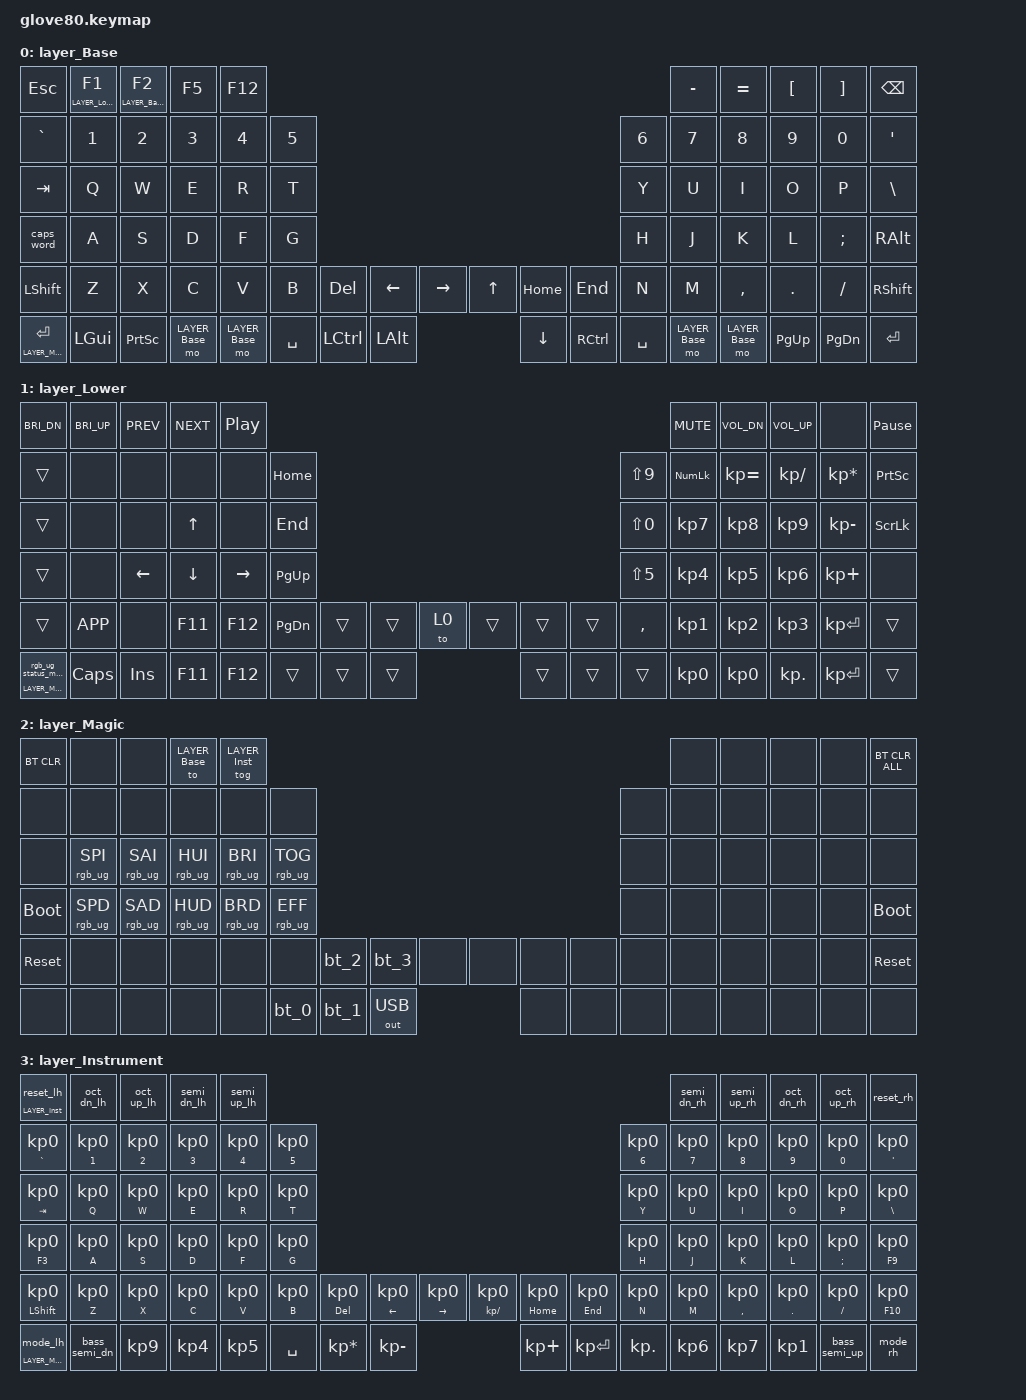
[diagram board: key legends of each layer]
/*
 * Glove80 Instrument Mode — Bridge 1.5 + Device 0.5
 * darknao/zmk fork (rgb-layer-25.08) + instrument_mode C module
 *
 * 4 layers:
 *   0: Base       — user's work layout
 *   1: Lower      — numpad, media, nav
 *   2: Magic      — BT, RGB, bootloader, instrument entry/exit
 *   3: Instrument — MIDI note keys with &vel, controls with &inst
 *
 * RGB: 12 chromatic colors computed at runtime by instrument_mode module.
 * No static underglow-layer needed for instrument mode.
 */

#include <behaviors.dtsi>
#include <dt-bindings/zmk/keys.h>
#include <dt-bindings/zmk/bt.h>
#include <dt-bindings/zmk/outputs.h>
#include <dt-bindings/zmk/rgb.h>

/* Layer defines */
#define LAYER_Base  0
#define LAYER_Lower 1
#define LAYER_Magic 2
#define LAYER_Inst  3

/* Instrument command defines (must match instrument_mode.h) */
#define INST_CMD_SEMI_INC   0
#define INST_CMD_SEMI_DEC   1
#define INST_CMD_SEMI_RST   2
#define INST_CMD_MODE_TOG   3
#define INST_CMD_OCT_INC        4
#define INST_CMD_OCT_DEC        5
#define INST_CMD_BASS_SEMI_INC  6
#define INST_CMD_BASS_SEMI_DEC  7
#define INST_HAND_LH 0
#define INST_HAND_RH 1

/ {
    behaviors {
        /* Lower layer tap-dance: tap = momentary, double-tap = toggle */
        lower: lower {
            compatible = "zmk,behavior-tap-dance";
            #binding-cells = <0>;
            tapping-term-ms = <200>;
            bindings = <&mo LAYER_Lower>, <&to LAYER_Lower>;
        };

        /* Magic hold-tap: hold = Magic layer, tap = RGB status */
        magic: magic {
            compatible = "zmk,behavior-hold-tap";
            label = "MAGIC_HOLD_TAP";
            #binding-cells = <2>;
            flavor = "tap-preferred";
            tapping-term-ms = <200>;
            bindings = <&mo>, <&rgb_ug_status_macro>;
        };

        /* Velocity hold-tap: hold = fire key immediately, tap = soft signal (KP_N0)
         * 50ms tapping-term reduces false-tap classification from BLE split jitter
         * (connection interval is 7.5-15ms on RH → 30ms window was unreliable).
         * Interim fix — firmware-side INI velocity will replace this in Phase 3. */
        vel: vel {
            compatible = "zmk,behavior-hold-tap";
            label = "VEL_HOLD_TAP";
            #binding-cells = <2>;
            flavor = "hold-preferred";
            tapping-term-ms = <50>;
            hold-while-undecided;
            bindings = <&kp>, <&kp>;
        };

        /* LH mode toggle hold-tap: hold = Magic, tap = mode_lh macro */
        lt_mode_lh: lt_mode_lh {
            compatible = "zmk,behavior-hold-tap";
            label = "LT_MODE_LH";
            #binding-cells = <2>;
            flavor = "tap-preferred";
            tapping-term-ms = <200>;
            bindings = <&mo>, <&mode_lh>;
        };

        /* Instrument exit hold-tap: tap = reset, hold = exit instrument mode */
        inst_exit: inst_exit {
            compatible = "zmk,behavior-hold-tap";
            label = "INST_EXIT";
            #binding-cells = <2>;
            flavor = "tap-preferred";
            tapping-term-ms = <300>;
            bindings = <&tog>, <&reset_lh>;
        };
    };
};

/ {
    macros {
        rgb_ug_status_macro: rgb_ug_status_macro {
            label = "RGB_UG_STATUS";
            compatible = "zmk,behavior-macro";
            #binding-cells = <0>;
            bindings = <&rgb_ug RGB_STATUS>;
        };

        bt_0: bt_0 {
            label = "BT_0";
            compatible = "zmk,behavior-macro";
            #binding-cells = <0>;
            bindings = <&out OUT_BLE>, <&bt BT_SEL 0>;
        };
        bt_1: bt_1 {
            label = "BT_1";
            compatible = "zmk,behavior-macro";
            #binding-cells = <0>;
            bindings = <&out OUT_BLE>, <&bt BT_SEL 1>;
        };
        bt_2: bt_2 {
            label = "BT_2";
            compatible = "zmk,behavior-macro";
            #binding-cells = <0>;
            bindings = <&out OUT_BLE>, <&bt BT_SEL 2>;
        };
        bt_3: bt_3 {
            label = "BT_3";
            compatible = "zmk,behavior-macro";
            #binding-cells = <0>;
            bindings = <&out OUT_BLE>, <&bt BT_SEL 3>;
        };

        /* R1 instrument control macros — send keycode (for bridge) + &inst (for firmware RGB) */
        semi_up_lh: semi_up_lh {
            compatible = "zmk,behavior-macro";
            #binding-cells = <0>;
            bindings = <&kp F11>, <&inst INST_CMD_SEMI_INC INST_HAND_LH>;
        };
        semi_dn_lh: semi_dn_lh {
            compatible = "zmk,behavior-macro";
            #binding-cells = <0>;
            bindings = <&kp F5>, <&inst INST_CMD_SEMI_DEC INST_HAND_LH>;
        };
        reset_lh: reset_lh {
            compatible = "zmk,behavior-macro";
            #binding-cells = <0>;
            bindings = <&kp ESC>, <&inst INST_CMD_SEMI_RST INST_HAND_LH>;
        };
        oct_up_lh: oct_up_lh {
            compatible = "zmk,behavior-macro";
            #binding-cells = <0>;
            bindings = <&kp F2>, <&inst INST_CMD_OCT_INC INST_HAND_LH>;
        };
        oct_dn_lh: oct_dn_lh {
            compatible = "zmk,behavior-macro";
            #binding-cells = <0>;
            bindings = <&kp F1>, <&inst INST_CMD_OCT_DEC INST_HAND_LH>;
        };
        semi_up_rh: semi_up_rh {
            compatible = "zmk,behavior-macro";
            #binding-cells = <0>;
            bindings = <&kp EQUAL>, <&inst INST_CMD_SEMI_INC INST_HAND_RH>;
        };
        semi_dn_rh: semi_dn_rh {
            compatible = "zmk,behavior-macro";
            #binding-cells = <0>;
            bindings = <&kp MINUS>, <&inst INST_CMD_SEMI_DEC INST_HAND_RH>;
        };
        reset_rh: reset_rh {
            compatible = "zmk,behavior-macro";
            #binding-cells = <0>;
            bindings = <&kp BSPC>, <&inst INST_CMD_SEMI_RST INST_HAND_RH>;
        };
        oct_up_rh: oct_up_rh {
            compatible = "zmk,behavior-macro";
            #binding-cells = <0>;
            bindings = <&kp RBKT>, <&inst INST_CMD_OCT_INC INST_HAND_RH>;
        };
        oct_dn_rh: oct_dn_rh {
            compatible = "zmk,behavior-macro";
            #binding-cells = <0>;
            bindings = <&kp LBKT>, <&inst INST_CMD_OCT_DEC INST_HAND_RH>;
        };

        /* Mode toggle macros */
        mode_lh: mode_lh {
            compatible = "zmk,behavior-macro";
            #binding-cells = <0>;
            bindings = <&kp RET>, <&inst INST_CMD_MODE_TOG INST_HAND_LH>;
        };
        mode_rh: mode_rh {
            compatible = "zmk,behavior-macro";
            #binding-cells = <0>;
            bindings = <&kp KP_N3>, <&inst INST_CMD_MODE_TOG INST_HAND_RH>;
        };

        /* Bass register semitone controls */
        bass_semi_dn: bass_semi_dn {
            compatible = "zmk,behavior-macro";
            #binding-cells = <0>;
            bindings = <&kp KP_N8>, <&inst INST_CMD_BASS_SEMI_DEC INST_HAND_LH>;
        };
        bass_semi_up: bass_semi_up {
            compatible = "zmk,behavior-macro";
            #binding-cells = <0>;
            bindings = <&kp KP_N2>, <&inst INST_CMD_BASS_SEMI_INC INST_HAND_RH>;
        };
    };
};

/ {
    keymap {
        compatible = "zmk,keymap";

        /* ─── Layer 0: Base ─── */
        layer_Base {
            bindings = <
             &kp ESC  &lt LAYER_Lower F1  &lt LAYER_Base F2          &kp F5         &kp F12                                                                                        &kp MINUS       &kp EQUAL   &kp LBKT   &kp RBKT   &kp BSPC
           &kp GRAVE              &kp N1             &kp N2          &kp N3          &kp N4  &kp N5                                                                   &kp N6          &kp N7          &kp N8     &kp N9     &kp N0    &kp SQT
             &kp TAB               &kp Q              &kp W           &kp E           &kp R   &kp T                                                                    &kp Y           &kp U           &kp I      &kp O      &kp P   &kp BSLH
          &caps_word               &kp A              &kp S           &kp D           &kp F   &kp G                                                                    &kp H           &kp J           &kp K      &kp L   &kp SEMI   &kp RALT
           &kp LSHFT               &kp Z              &kp X           &kp C           &kp V   &kp B    &kp DEL   &kp LEFT  &kp RIGHT    &kp UP   &kp HOME    &kp END   &kp N           &kp M       &kp COMMA    &kp DOT   &kp FSLH  &kp RSHFT
 &lt LAYER_Magic RET            &kp LGUI          &kp PSCRN  &mo LAYER_Base  &mo LAYER_Base          &kp SPACE  &kp LCTRL   &kp LALT  &kp DOWN  &kp RCTRL  &kp SPACE          &mo LAYER_Base  &mo LAYER_Base  &kp PG_UP  &kp PG_DN    &kp RET
            >;
        };

        /* ─── Layer 1: Lower ─── */
        layer_Lower {
            bindings = <
         &kp C_BRI_DN  &kp C_BRI_UP      &kp C_PREV      &kp C_NEXT         &kp C_PP                                                                         &kp C_MUTE  &kp C_VOL_DN  &kp C_VOL_UP            &none  &kp PAUSE_BREAK
               &trans         &none           &none           &none            &none   &kp HOME                                                  &kp LS(N9)  &kp KP_NUM  &kp KP_EQUAL  &kp KP_SLASH  &kp KP_MULTIPLY  &kp PRINTSCREEN
               &trans         &none           &none    &kp UP_ARROW            &none    &kp END                                                  &kp LS(N0)   &kp KP_N7     &kp KP_N8     &kp KP_N9     &kp KP_MINUS   &kp SCROLLLOCK
               &trans         &none  &kp LEFT_ARROW  &kp DOWN_ARROW  &kp RIGHT_ARROW  &kp PG_UP                                                  &kp LS(N5)   &kp KP_N4     &kp KP_N5     &kp KP_N6      &kp KP_PLUS            &none
               &trans     &kp K_APP           &none         &kp F11          &kp F12  &kp PG_DN  &trans  &trans   &to 0  &trans  &trans  &trans   &kp COMMA   &kp KP_N1     &kp KP_N2     &kp KP_N3     &kp KP_ENTER           &trans
 &magic LAYER_Magic 0      &kp CAPS         &kp INS         &kp F11          &kp F12             &trans  &trans  &trans  &trans  &trans  &trans               &kp KP_N0     &kp KP_N0    &kp KP_DOT     &kp KP_ENTER           &trans
            >;
        };

        /* ─── Layer 2: Magic ───
         * Pos 3 (LH C3R1): &to 0 — exit instrument (clean reset)
         * Pos 4 (LH C2R1): &tog LAYER_Inst — enter instrument
         */
        layer_Magic {
            bindings = <
  &bt BT_CLR            &none            &none    &to LAYER_Base  &tog LAYER_Inst                                                                                  &none   &none   &none   &none  &bt BT_CLR_ALL
       &none            &none            &none            &none            &none            &none                                                         &none   &none   &none   &none   &none           &none
       &none  &rgb_ug RGB_SPI  &rgb_ug RGB_SAI  &rgb_ug RGB_HUI  &rgb_ug RGB_BRI  &rgb_ug RGB_TOG                                                         &none   &none   &none   &none   &none           &none
 &bootloader  &rgb_ug RGB_SPD  &rgb_ug RGB_SAD  &rgb_ug RGB_HUD  &rgb_ug RGB_BRD  &rgb_ug RGB_EFF                                                         &none   &none   &none   &none   &none     &bootloader
  &sys_reset            &none            &none            &none            &none            &none   &bt_2   &bt_3         &none   &none   &none   &none   &none   &none   &none   &none   &none      &sys_reset
       &none            &none            &none            &none            &none                    &bt_0   &bt_1  &out OUT_USB   &none   &none   &none           &none   &none   &none   &none           &none
            >;
        };

        /* ─── Layer 3: Instrument ───
         *
         * R1: control macros (send keycode for bridge + &inst for firmware RGB)
         * R2-R5: note grid with &vel hold-tap
         * Thumbs: bass register (plain &kp — F-keys replaced with KP keycodes)
         * R6: sub-bass + mode toggles
         */
        layer_Instrument {
            bindings = <
            /* R1: controls — macros that send keycode + &inst command */
  &inst_exit LAYER_Inst 0   &oct_dn_lh          &oct_up_lh     &semi_dn_lh    &semi_up_lh                                                                                       &semi_dn_rh    &semi_up_rh  &oct_dn_rh  &oct_up_rh  &reset_rh
            /* R2: note grid row 3 */
      &vel GRAVE KP_N0      &vel N1 KP_N0      &vel N2 KP_N0  &vel N3 KP_N0  &vel N4 KP_N0  &vel N5 KP_N0                                                          &vel N6 KP_N0  &vel N7 KP_N0  &vel N8 KP_N0  &vel N9 KP_N0  &vel N0 KP_N0  &vel SQT KP_N0
            /* R3: note grid row 2 */
       &vel TAB KP_N0       &vel Q KP_N0       &vel W KP_N0   &vel E KP_N0   &vel R KP_N0   &vel T KP_N0                                                           &vel Y KP_N0   &vel U KP_N0   &vel I KP_N0   &vel O KP_N0   &vel P KP_N0  &vel BSLH KP_N0
            /* R4: note grid row 1 */
       &vel F3 KP_N0        &vel A KP_N0       &vel S KP_N0   &vel D KP_N0   &vel F KP_N0   &vel G KP_N0                                                           &vel H KP_N0   &vel J KP_N0   &vel K KP_N0   &vel L KP_N0  &vel SEMI KP_N0  &vel F9 KP_N0
            /* R5: note grid row 0 + thumb inner */
    &vel LSHFT KP_N0        &vel Z KP_N0       &vel X KP_N0   &vel C KP_N0   &vel V KP_N0   &vel B KP_N0  &vel DEL KP_N0  &vel LEFT KP_N0  &vel RIGHT KP_N0  &vel KP_DIVIDE KP_N0  &vel HOME KP_N0  &vel END KP_N0   &vel N KP_N0   &vel M KP_N0  &vel COMMA KP_N0  &vel DOT KP_N0  &vel FSLH KP_N0  &vel F10 KP_N0
            /* R6: LH toggle+bass | thumb outer | RH bass+toggle */
 &lt_mode_lh LAYER_Magic 0  &bass_semi_dn  &kp KP_N9  &kp KP_N4  &kp KP_N5      &kp SPACE  &kp KP_MULTIPLY  &kp KP_MINUS  &kp KP_PLUS  &kp KP_ENTER  &kp KP_DOT      &kp KP_N6  &kp KP_N7  &kp KP_N1  &bass_semi_up  &mode_rh
            >;
        };
    };
};
